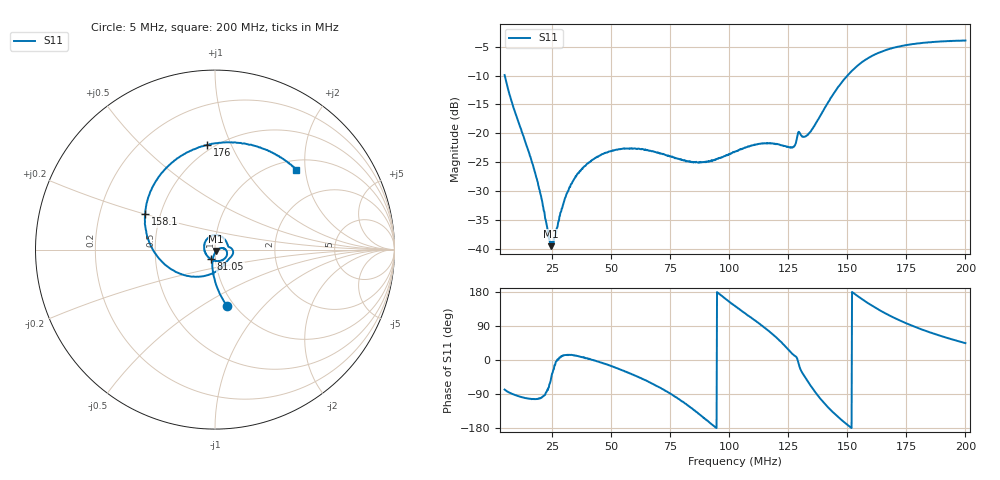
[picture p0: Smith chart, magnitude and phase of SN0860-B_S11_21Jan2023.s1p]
# Hz S DB R 50
! CMT, M5045, 22160017, 22.4.3/2
! Date: 1/21/2023 20:09:25
! Data: Format (Calibration Info)
! Freq	S11:dB/Ang(F1)
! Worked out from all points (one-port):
!   1001 points, 5 MHz to 200 MHz, reference 50 ohm
!   lowest |S11| = -39.6 dB at 24.7 MHz (marker M1), VSWR 1.02, Z = 50.7 - j0.78 ohm
!   |S11| at or under -10 dB: 5.049 MHz to 150.1 MHz (145 MHz wide, 187 % of centre)
!   S11 on the Smith chart (normalised r, x): 5 MHz: 0.93, -0.64; 81.05 MHz: 0.95, -0.10; 158.1 MHz: 0.41, +0.20; 176 MHz: 0.46, +0.82; 200 MHz: 1.20, +1.79
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5000000  -9.91 -78.0
1.007e7  -17.17 -93.4
1.787e7  -26.80 -103.0
2.372e7  -38.18 -72.4
2.4695e7  -39.59 -47.2
2.6255e7  -38.03 -14.2
2.9375e7  -33.00 10.7
3.3275e7  -28.77 13.7
3.7955e7  -26.18 7.6
4.595e7  -23.69 -6.7
5.375e7  -22.77 -24.5
7.8125e7  -24.38 -100.6
8.105e7  -24.66 -113.4
9.119e7  -24.88 -162.1
1.025e8  -23.19 142.3
1.14005e8  -21.81 90.6
1.26875e8  -22.49 15.4
1.29605e8  -19.78 -13.7
1.3409e8  -19.88 -63.6
1.4111e8  -15.22 -119.9
1.4618e8  -11.96 -150.5
1.5125e8  -9.48 -176.8
1.58075e8  -7.18 152.8
1.6724e8  -5.46 119.4
1.75625e8  -4.68 95.2
1.76015e8  -4.66 94.1
1.8674e8  -4.17 69.4
2e8  -3.93 44.5
